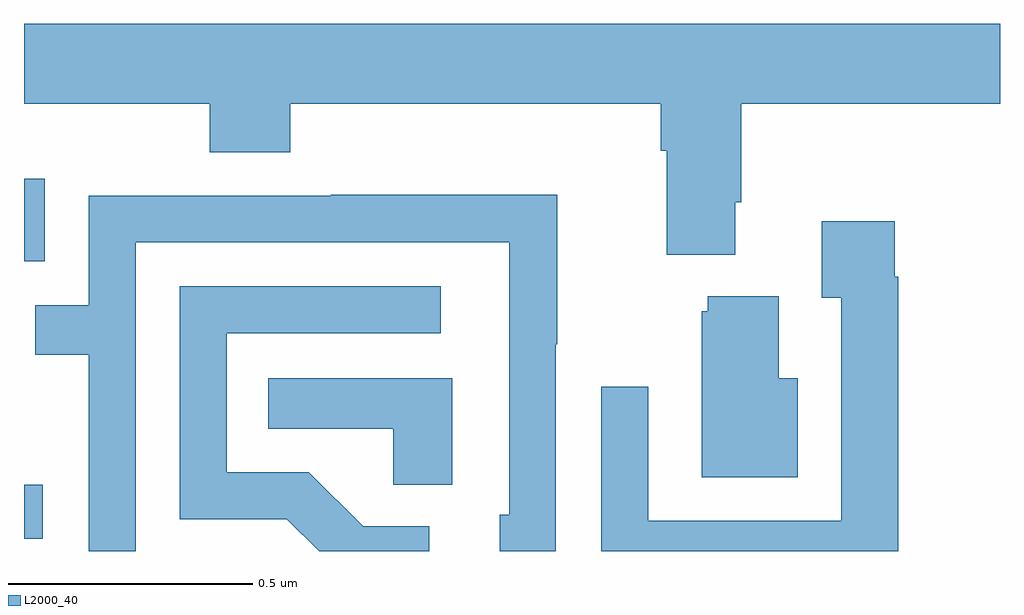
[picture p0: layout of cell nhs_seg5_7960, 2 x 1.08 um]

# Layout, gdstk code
import gdstk
lib = gdstk.Library(unit=1e-6, precision=1e-09)
def R(c, l, rs):  # rectangles x0, y0, x1, y1
    for r in rs: c.add(gdstk.rectangle(r[:2], r[2:], *l))
def P(c, l, *ps):  # polygons
    for p in ps: c.add(gdstk.Polygon(p, *l))
L2000_40 = (2000, 40)

nhs_seg5_7960 = lib.new_cell('nhs_seg5_7960')
R(nhs_seg5_7960, L2000_40, [(215,899.825,215.038,899.935), (215,900.393,215.043,900.562)])
P(nhs_seg5_7960, L2000_40, [(215,900.716),(215.381,900.716),(215.381,900.617),(215.546,900.617),(215.546,900.716),(216.305,900.716),(216.305,900.62),(216.317,900.62),(216.317,900.407),(216.457,900.407),(216.457,900.514),(216.47,900.514),(216.47,900.716),(217,900.716),(217,900.88),(215,900.88)],
  [(215.229,900.432),(215.994,900.432),(215.994,899.874),(215.975,899.874),(215.975,899.799),(216.09,899.799),(216.09,900.223),(216.093,900.223),(216.093,900.53),(215.629,900.53),(215.629,900.528),(215.133,900.528),(215.133,900.303),(215.023,900.303),(215.023,900.202),(215.133,900.202),(215.133,899.799),(215.229,899.799)],
  [(216.791,900.362),(216.784,900.362),(216.784,900.475),(216.635,900.475),(216.635,900.319),(216.675,900.319),(216.675,899.862),(216.279,899.862),(216.279,900.136),(216.183,900.136),(216.183,899.799),(216.791,899.799)],
  [(215.83,899.85),(215.695,899.85),(215.584,899.961),(215.415,899.961),(215.415,900.246),(215.854,900.246),(215.854,900.342),(215.319,900.342),(215.319,899.865),(215.538,899.865),(215.605,899.799),(215.83,899.799)],
  [(216.586,900.154),(216.547,900.154),(216.547,900.322),(216.401,900.322),(216.401,900.291),(216.389,900.291),(216.389,899.951),(216.586,899.951)],
  [(215.878,900.154),(215.5,900.154),(215.5,900.05),(215.757,900.05),(215.757,899.935),(215.878,899.935)])

lib.write_gds('nhs_seg5_7960.gds')
